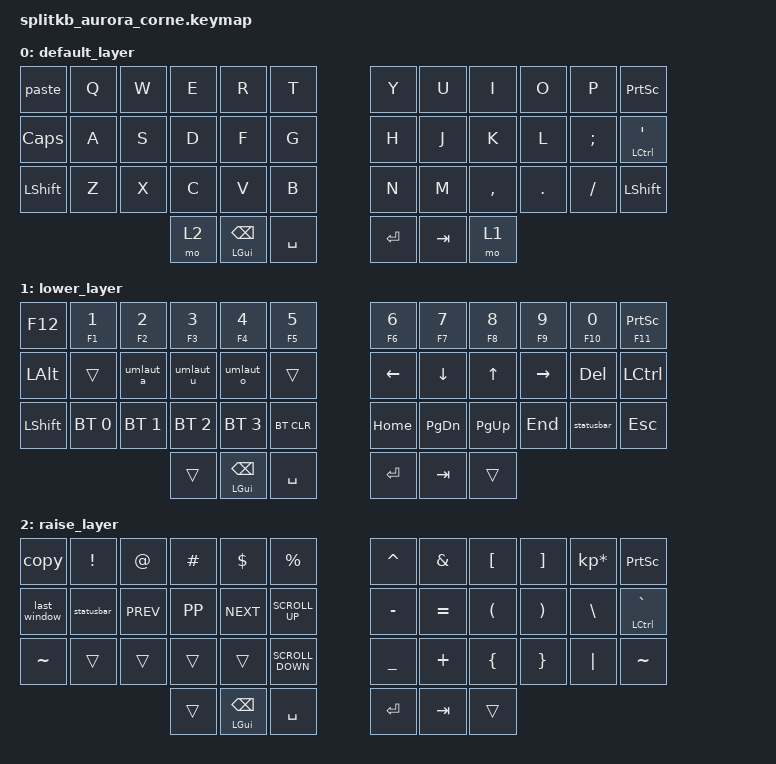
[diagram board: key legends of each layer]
/*
 * Copyright (c) 2020 The ZMK Contributors
 *
 * SPDX-License-Identifier: MIT
 */

#include <behaviors.dtsi>
#include <dt-bindings/zmk/keys.h>
#include <dt-bindings/zmk/bt.h>

/ {
    macros {
        umlaut_a: umlaut_a {
            compatible = "zmk,behavior-macro";
            #binding-cells = <0>;
            bindings
                = <&macro_press &kp LSHFT &kp RALT>
                , <&macro_tap &kp SQT>
                , <&macro_release &kp LSHFT &kp RALT>
                , <&macro_tap &kp A>
                ;
        };
        umlaut_o: umlaut_o {
            compatible = "zmk,behavior-macro";
            #binding-cells = <0>;
            bindings
                = <&macro_press &kp LSHFT &kp RALT>
                , <&macro_tap &kp SQT>
                , <&macro_release &kp LSHFT &kp RALT>
                , <&macro_tap &kp O>
                ;
        };
        umlaut_u: umlaut_u {
            compatible = "zmk,behavior-macro";
            #binding-cells = <0>;
            bindings
                = <&macro_press &kp LSHFT &kp RALT>
                , <&macro_tap &kp SQT>
                , <&macro_release &kp LSHFT &kp RALT>
                , <&macro_tap &kp U>
                ;
        };
        last_window: last_window {
            compatible = "zmk,behavior-macro";
            #binding-cells = <0>;
            bindings
                = <&macro_press &kp LGUI>
                , <&macro_tap &kp TAB>
                , <&macro_release &kp LGUI>
                ;
        };
        copy: copy {
            compatible = "zmk,behavior-macro";
            #binding-cells = <0>;
            bindings
                = <&macro_press &kp LCTRL>
                , <&macro_tap &kp C>
                , <&macro_release &kp LCTRL>
                ;
        };
        paste: paste {
            compatible = "zmk,behavior-macro";
            #binding-cells = <0>;
            bindings
                = <&macro_press &kp LCTRL>
                , <&macro_tap &kp V>
                , <&macro_release &kp LCTRL>
                ;
        };
        statusbar: statusbar {
            compatible = "zmk,behavior-macro";
            #binding-cells = <0>;
            bindings
                = <&macro_press &kp LGUI>
                , <&macro_tap &kp I>
                , <&macro_release &kp LGUI>
                ;
        };
    };
};

/ {
        keymap {
                compatible = "zmk,keymap";

                default_layer {
// -----------------------------------------------------------------------------------------
// | PASTE|  Q  |  W  |  E  |  R  |  T  |   |  Y  |  U   |  I  |  O  |  P  |PRSCR  |
// | CAPS |  A  |  S  |  D  |  F  |  G  |   |  H  |  J   |  K  |  L  |  ;  |'(LCTR)|
// | SHFT |  Z  |  X  |  C  |  V  |  B  |   |  N  |  M   |  ,  |  .  |  /  | SHFT  |
//                    | RSE | GUI | SPC |   | ENT | TAB  | LWR |
                        bindings = <
   &paste   &kp Q &kp W &kp E &kp R &kp T   &kp Y &kp U  &kp I     &kp O   &kp P    &kp PSCRN
   &kp CAPS   &kp A &kp S &kp D &kp F &kp G   &kp H &kp J  &kp K     &kp L   &kp SEMI &mt LCTRL SQT
   &kp LSHFT  &kp Z &kp X &kp C &kp V &kp B   &kp N &kp M  &kp COMMA &kp DOT &kp FSLH &kp LSHFT
                  &mo 2 &mt LGUI BSPC &kp SPACE   &kp RET &kp TAB &mo 1 
                        >;
                };
                lower_layer {
// -----------------------------------------------------------------------------------------
// | F12  |  1  |  2  |  3  |  4  |  5  |   |  6  |  7  |  8  |  9  |  0  |PRSCR |
// | LALT |     |  Ä  |  Ö  |  Ü  |     |   | LFT | DWN |  UP | RGT | DEL | LCTR |
// | SHFT | BT1 | BT2 | BT3 | BT4 |BTCLR|   |HOME |PGDN |PGUP | END |MOD+I|  ESC |
//                    |     | GUI | SPC |   | ENT |     | TAB |
                        bindings = <
   &kp F12   &mt F1 N1       &mt F2 N2       &mt F3 N3       &mt F4 N4       &mt F5 N5             &mt F6 N6   &mt F7 N7       &mt F8 N8    &mt F9 N9        &mt F10 N0 &mt F11 PSCRN
   &kp LALT   &trans       &umlaut_a    &umlaut_u    &umlaut_o    &trans             &kp LEFT &kp DOWN     &kp UP    &kp RIGHT     &kp DEL &kp LCTRL
   &kp LSHFT  &bt BT_SEL 0 &bt BT_SEL 1 &bt BT_SEL 2 &bt BT_SEL 3 &bt BT_CLR         &kp HOME    &kp PG_DN &kp PG_UP   &kp END   &statusbar &kp ESC
                                    &trans       &mt LGUI BSPC     &kp SPACE                &kp RET  &kp TAB  &trans 
                        >;
                };

                raise_layer {
// -----------------------------------------------------------------------------------------
// | COPY |  !  |  @  |  #  |  $  |  %  |   |  ^  |  &  |  [  |  ]  |  *  |PRSCR |
// |LAWIND|MOD+I|PREV | PP  | NXT |SCRUP|   |  -  |  =  |  (  |  )  |  \  |  `   |
// |  ~   |     |     |     |     |SCRDN|   |  _  |  +  |  {  |  }  | "|" |  ~   |
//                    |     | GUI | SPC |   | ENT |     | TAB |
                        bindings = <
   &copy  &kp EXCL &kp AT &kp HASH &kp DLLR &kp PRCNT   &kp CARET &kp AMPS  &kp LBKT &kp RBKT &kp KP_MULTIPLY &kp PSCRN
   &last_window &statusbar   &kp K_PREV   &kp K_PP  &kp K_NEXT   &kp K_SCROLL_UP      &kp MINUS &kp EQUAL &kp LPAR &kp RPAR &kp BSLH        &mt LCTRL GRAVE
   &kp TILDE &trans   &trans &trans   &trans   &kp  K_SCROLL_DOWN    &kp UNDER &kp PLUS  &kp LBRC &kp RBRC &kp PIPE        &kp TILDE
                             &trans &mt LGUI BSPC   &kp SPACE   &kp RET    &kp TAB   &trans
                        >;
                };
        };
};
